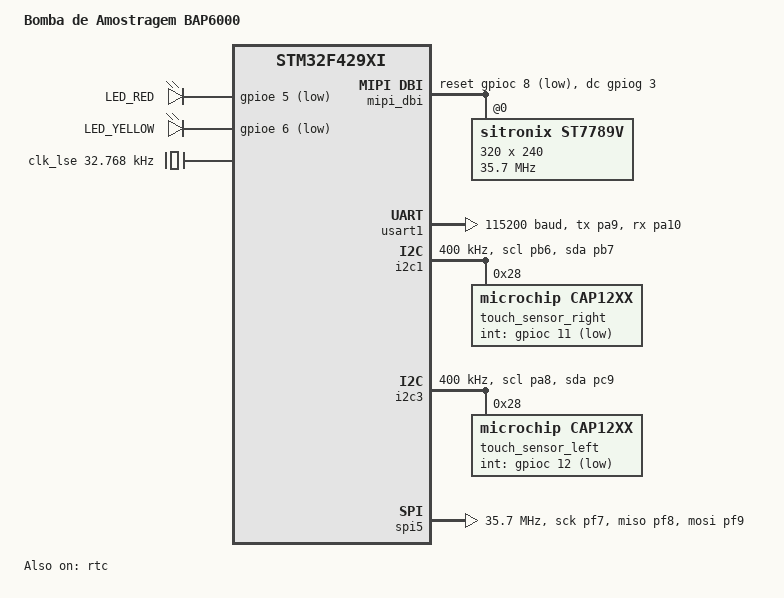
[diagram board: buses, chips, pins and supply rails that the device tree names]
/*
 * Copyright (c) 2017 Linaro Limited
 * Copyright (c) 2024 STMicroelectronics
 *
 * SPDX-License-Identifier: Apache-2.0
 */

/dts-v1/;
#include <st/f4/stm32f429Xi.dtsi>
#include <st/f4/stm32f429z(e-g)tx-pinctrl.dtsi>
#include <zephyr/dt-bindings/mipi_dbi/mipi_dbi.h>
#include <zephyr/dt-bindings/input/input-event-codes.h>

/ {
	model = "Bomba de Amostragem BAP6000";
	compatible = "pullup,bap6000";

	chosen {
		zephyr,sram = &sram0;
		zephyr,flash = &flash0;
		zephyr,code-partition = &slot0_partition;
		zephyr,ccm = &ccm0;
		zephyr,display = &st7789v;
	};

	status_leds: status-leds {
		compatible = "gpio-leds";

		led_red: led-red {
			gpios = <&gpioe 5 (GPIO_ACTIVE_LOW | GPIO_PULL_UP)>;
			label = "LED_RED";
		};

		led_yellow: led-yellow {
			gpios = <&gpioe 6 (GPIO_ACTIVE_LOW | GPIO_PULL_UP)>;
			label = "LED_YELLOW";
		};
	};

	mipi_dbi {
		compatible = "zephyr,mipi-dbi-spi";
		dc-gpios = <&gpiog 3 GPIO_ACTIVE_HIGH>;
		reset-gpios = <&gpioc 8 GPIO_ACTIVE_LOW>;
		write-only;
		#address-cells = <1>;
		#size-cells = <0>;
		spi-dev = <&spi5>;
		clock-frequency = <DT_FREQ_K(35700)>;

		st7789v: st7789v@0 {
			compatible = "sitronix,st7789v";
			mipi-max-frequency = <35700000>;
			reg = <0>;
			width = <320>;
			height = <240>;
			x-offset = <0>;
			y-offset = <0>;
			vcom = <0x19>;
			gctrl = <0x35>;
			vrhs = <0x12>;
			vdvs = <0x20>;
			mdac = <0xA0>;  // rotates by 90 degrees
			gamma = <0x01>;
			colmod = <0x55>;
			lcm = <0x2c>;
			porch-param = [0c 0c 00 33 33];
			cmd2en-param = [5a 69 02 01];
			pwctrl1-param = [a4 a1];
			pvgam-param = [D0 08 11 08 0c 15 39 33 50 36 13 14 29 2d];
			nvgam-param = [D0 08 10 08 06 06 39 44 51 0b 16 14 2f 31];
			ram-param = [00 F0];
			rgb-param = [CD 08 14];
			mipi-mode = "MIPI_DBI_MODE_SPI_4WIRE";
			status = "okay";
		};
	};

};

&clk_lse {
	status = "okay";
	clock-frequency = <32768>;
};

&clk_hsi {
	status = "okay";
};

&pll {
	div-m = <8>;
	mul-n = <150>;
	div-p = <2>;
	div-q = <7>;
	clocks = <&clk_hsi>;
	status = "okay";
};

&pllsai {
	div-m = <8>;
	mul-n = <60>;
	div-r = <5>;
	div-divr = <4>;
	clocks = <&clk_hsi>;
	status = "okay";
};

&rcc {
	clocks = <&pll>;
	clock-frequency = <DT_FREQ_M(150)>;
	ahb-prescaler = <1>;
	apb1-prescaler = <4>;
	apb2-prescaler = <2>;
};

&rtc {
	clocks = <&rcc STM32_CLOCK(APB1, 28)>,
			<&rcc STM32_SRC_LSI RTC_SEL(2)>;
	status = "okay";
};

&usart1 {
	pinctrl-0 = <&usart1_tx_pa9 &usart1_rx_pa10>;
	pinctrl-names = "default";
	current-speed = <115200>;
	status = "okay";
};

&i2c1 {
	pinctrl-0 = <&i2c1_scl_pb6 &i2c1_sda_pb7>;
	pinctrl-names = "default";
	status = "okay";
	clock-frequency = <I2C_BITRATE_FAST>;

	touch_sensor_right: cap12xx@28 {
		compatible = "microchip,cap12xx";
		status = "okay";
		reg = <0x28>;
		int-gpios = <&gpioc 11 (GPIO_ACTIVE_LOW)>;
		// poll-interval-ms = <50>;  // disabled on interrupt mode
		input-codes = <INPUT_KEY_3>, <INPUT_KEY_4>;
		repeat;
		sensitivity-delta-sense = <64>;
		sensor-gain = <4>;
	};
};

&i2c3 {
	pinctrl-0 = <&i2c3_scl_pa8 &i2c3_sda_pc9>;
	pinctrl-names = "default";
	status = "okay";
	clock-frequency = <I2C_BITRATE_FAST>;

	touch_sensor_left: cap12xx@28 {
		compatible = "microchip,cap12xx";
		status = "okay";
		reg = <0x28>;
		int-gpios = <&gpioc 12 (GPIO_ACTIVE_LOW)>;
		// poll-interval-ms = <50>;  // disabled on interrupt mode
		input-codes = <INPUT_KEY_1>, <INPUT_KEY_2>;
		repeat;
		sensitivity-delta-sense = <64>;
		sensor-gain = <4>;
	};
};

&spi5 {
	pinctrl-0 = <&spi5_sck_pf7 &spi5_miso_pf8 &spi5_mosi_pf9>;
	pinctrl-names = "default";
	status = "okay";
	clock-frequency = <DT_FREQ_K(35700)>;
	cs-gpios = <&gpioc 1 (GPIO_ACTIVE_LOW)>;
};

&flash0 {
	partitions {
		compatible = "fixed-partitions";
		#address-cells = <1>;
		#size-cells = <1>;

		/* 32KB for bootloader */
		boot_partition: partition@0 {
			label = "mcuboot";
			reg = <0x00000000 DT_SIZE_K(32)>;
			read-only;
		};

		/*
		 * nvs subsystem requires 2 sectors with a max total of 32K
		 * On F4 series, the only option is to use the following
		 * partition, which is compatible with mcuboot usage.
		 * Keep it commented in order it is not used by CI.
		 *
		 * storage_partition: partition@8000 {
		 *	label = "storage";
		 *	reg = <0x0008000 DT_SIZE_K(32)>;
		 * };
		 */

		/* application image slot: 256KB */
		slot0_partition: partition@20000 {
			label = "image-0";
			reg = <0x00020000 DT_SIZE_K(512)>;
		};
	};
};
